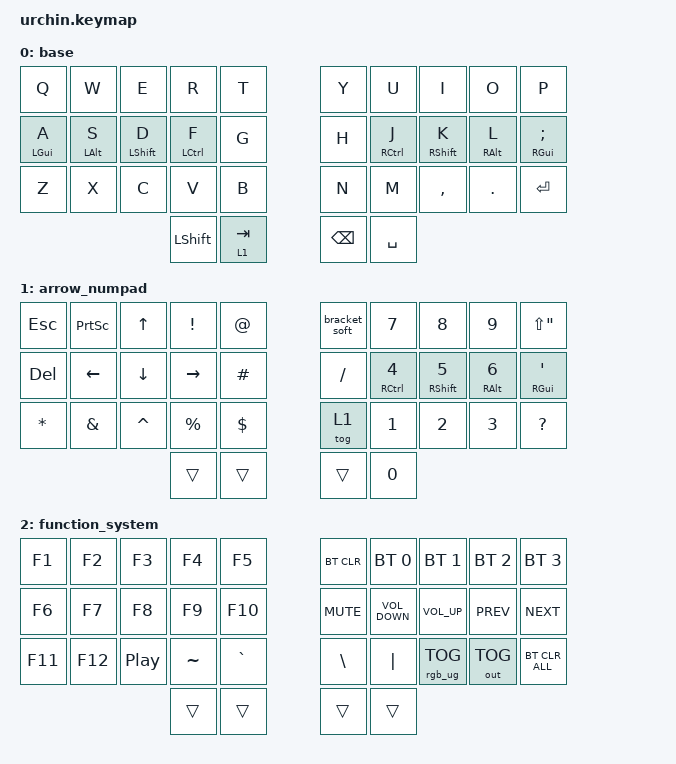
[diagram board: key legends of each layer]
#include <input/processors.dtsi>
#include <behaviors.dtsi>
#include <dt-bindings/zmk/bt.h>
#include <dt-bindings/zmk/keys.h>
#include <dt-bindings/zmk/outputs.h>
#include <dt-bindings/zmk/rgb.h>

/ {
    combos {
        compatible = "zmk,combos";

        minus {
            bindings = <&kp MINUS>;
            key-positions = <6 7>;
            layers = <0>;
            require-prior-idle-ms = <250>;
        };

        equal {
            bindings = <&kp EQUAL>;
            key-positions = <7 8>;
            layers = <0>;
            require-prior-idle-ms = <250>;
        };

        copy {
            bindings = <&kp LC(C)>;
            key-positions = <22 21>;
            layers = <0>;
            require-prior-idle-ms = <250>;
        };

        paste {
            bindings = <&kp LC(V)>;
            key-positions = <22 23>;
            layers = <0>;
            require-prior-idle-ms = <250>;
        };

        undo {
            bindings = <&kp LC(Z)>;
            key-positions = <21 20>;
            layers = <0>;
            require-prior-idle-ms = <250>;
        };

        caps {
            bindings = <&kp CAPS>;
            key-positions = <0 1>;
            layers = <1>;
        };

        page_up {
            bindings = <&kp PAGE_UP>;
            key-positions = <13 3>;
            layers = <1>;
        };

        page_down {
            bindings = <&kp PAGE_DOWN>;
            key-positions = <13 23>;
            layers = <1>;
        };

        bracket_1 {
            bindings = <&kp LEFT_BRACKET>;
            key-positions = <16 6>;
            layers = <1>;
        };

        bracket_2 {
            bindings = <&kp RIGHT_BRACKET>;
            key-positions = <7 17>;
            layers = <1>;
        };

        brace_1 {
            bindings = <&kp LEFT_BRACE>;
            key-positions = <16 26>;
            layers = <1>;
        };

        brace_2 {
            bindings = <&kp RIGHT_BRACE>;
            key-positions = <17 27>;
            layers = <1>;
        };

        parentheses_1 {
            bindings = <&kp LEFT_PARENTHESIS>;
            key-positions = <1 2>;
            layers = <0>;
            require-prior-idle-ms = <250>;
        };

        parentheses_2 {
            bindings = <&kp RIGHT_PARENTHESIS>;
            key-positions = <2 3>;
            layers = <0>;
            require-prior-idle-ms = <250>;
        };

        sys_layer {
            bindings = <&mo 2>;
            key-positions = <31 32>;
            layers = <0 2>;
            require-prior-idle-ms = <500>;
            slow-release;
        };
    };

    macros {
        bracket_soft: bracket_soft {
            compatible = "zmk,behavior-macro";
            #binding-cells = <0>;
            bindings = <&kp LEFT_PARENTHESIS &kp RIGHT_PARENTHESIS &kp LEFT>;
            label = "BRACKET_SOFT";
        };
    };

    behaviors {
        hrm_L: hrm_L {
            compatible = "zmk,behavior-hold-tap";
            label = "HRM_L";
            bindings = <&kp>, <&kp>;

            #binding-cells = <2>;
            tapping-term-ms = <300>;
            quick-tap-ms = <175>;
            require-prior-idle-ms = <250>;
            flavor = "balanced";
            hold-trigger-on-release;
            hold-trigger-key-positions = <5 6 7 8 9 15 16 17 18 19 25 26 27 28 29 32 33 30 31>;
        };

        hrm_R: hrm_R {
            compatible = "zmk,behavior-hold-tap";
            label = "HRM_R";
            bindings = <&kp>, <&kp>;

            #binding-cells = <2>;
            tapping-term-ms = <300>;
            quick-tap-ms = <175>;
            require-prior-idle-ms = <250>;
            flavor = "balanced";
            hold-trigger-on-release;
            hold-trigger-key-positions = <0 1 2 3 4 10 11 12 13 14 20 21 22 23 24 30 31 32 33>;
        };

        hrm_ctrl_L: hrm_ctrl_L {
            compatible = "zmk,behavior-hold-tap";
            label = "HRM_CTRL_L";
            bindings = <&kp>, <&kp>;

            #binding-cells = <2>;
            tapping-term-ms = <200>;
            quick-tap-ms = <175>;
            require-prior-idle-ms = <150>;
            flavor = "balanced";
            hold-trigger-on-release;
            hold-trigger-key-positions = <5 6 7 8 9 15 16 17 18 19 25 26 27 28 29 33 32 31 30>;
        };

        hrm_ctrl_R: hrm_ctrl_R {
            compatible = "zmk,behavior-hold-tap";
            label = "HRM_CTRL_R";
            bindings = <&kp>, <&kp>;

            #binding-cells = <2>;
            tapping-term-ms = <200>;
            quick-tap-ms = <175>;
            require-prior-idle-ms = <150>;
            flavor = "balanced";
            hold-trigger-on-release;
            hold-trigger-key-positions = <0 1 2 3 4 10 11 12 13 14 20 21 22 23 24 30 31 32 33>;
        };

        z_ctrl: z_ctrl {
            compatible = "zmk,behavior-hold-tap";
            label = "Z_CTRL";
            bindings = <&kp>, <&kp>;

            #binding-cells = <2>;
            tapping-term-ms = <200>;
            quick-tap-ms = <175>;
            require-prior-idle-ms = <150>;
            flavor = "balanced";
            hold-trigger-on-release;
            hold-trigger-key-positions = <2 3 4 11 12 13 14 21 22 23 24 1>;
        };

        tab_layer1: tab_layer1 {
            compatible = "zmk,behavior-hold-tap";
            label = "TAB_LAYER1";
            bindings = <&mo>, <&kp>;

            #binding-cells = <2>;
            tapping-term-ms = <200>;
            quick-tap-ms = <175>;
        };
    };

    keymap {
        compatible = "zmk,keymap";

        default {
            label = "base";
            bindings = <
&kp Q              &kp W              &kp E                &kp R                       &kp T              &kp Y          &kp U                        &kp I                 &kp O               &kp P
&hrm_L LEFT_GUI A  &hrm_L LEFT_ALT S  &hrm_L LEFT_SHIFT D  &hrm_ctrl_L LEFT_CONTROL F  &kp G              &kp H          &hrm_ctrl_R RIGHT_CONTROL J  &hrm_R RIGHT_SHIFT K  &hrm_R RIGHT_ALT L  &hrm_R RIGHT_GUI SEMICOLON
&kp Z              &kp X              &kp C                &kp V                       &kp B              &kp N          &kp M                        &kp COMMA             &kp DOT             &kp ENTER
                                                           &kp LEFT_SHIFT              &tab_layer1 1 TAB  &kp BACKSPACE  &kp SPACE
            >;
        };

        arrow_numpad {
            bindings = <
&kp ESC       &kp PRINTSCREEN  &kp UP     &kp EXCLAMATION  &kp AT_SIGN  &bracket_soft  &kp N7                        &kp N8                 &kp N9               &kp LS(DQT)
&kp DEL       &kp LEFT         &kp DOWN   &kp RIGHT        &kp HASH     &kp SLASH      &hrm_ctrl_R RIGHT_CONTROL N4  &hrm_R RIGHT_SHIFT N5  &hrm_R RIGHT_ALT N6  &hrm_R RIGHT_GUI SQT
&kp ASTERISK  &kp AMPERSAND    &kp CARET  &kp PERCENT      &kp DOLLAR   &tog 1         &kp N1                        &kp N2                 &kp N3               &kp QUESTION
                                          &trans           &trans       &trans         &kp N0
            >;
        };

        function_system {
            bindings = <
&kp F1   &kp F2   &kp F3            &kp F4     &kp F5     &bt BT_CLR  &bt BT_SEL 0       &bt BT_SEL 1     &bt BT_SEL 2  &bt BT_SEL 3
&kp F6   &kp F7   &kp F8            &kp F9     &kp F10    &kp C_MUTE  &kp C_VOLUME_DOWN  &kp C_VOLUME_UP  &kp C_PREV    &kp C_NEXT
&kp F11  &kp F12  &kp C_PLAY_PAUSE  &kp TILDE  &kp GRAVE  &kp BSLH    &kp PIPE           &rgb_ug RGB_TOG  &out OUT_TOG  &bt BT_CLR_ALL
                                    &trans     &trans     &trans      &trans
            >;
        };
    };
};
